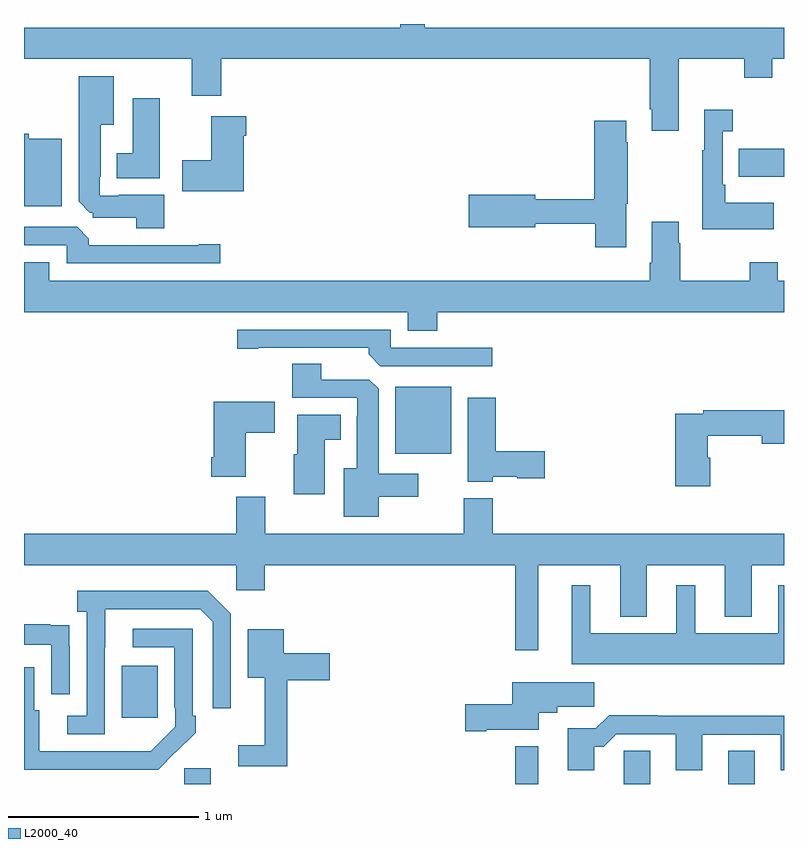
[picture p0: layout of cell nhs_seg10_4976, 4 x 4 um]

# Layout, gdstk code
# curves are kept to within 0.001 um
import gdstk
lib = gdstk.Library(unit=1e-6, precision=1e-09)
def R(c, l, rs):  # rectangles x0, y0, x1, y1
    for r in rs: c.add(gdstk.rectangle(r[:2], r[2:], *l))
def P(c, l, *ps):  # polygons
    for p in ps: c.add(gdstk.Polygon(p, *l))
L2000_40 = (2000, 40)

nhs_seg10_4976 = lib.new_cell('nhs_seg10_4976')
R(nhs_seg10_4976, L2000_40, [(399.843,1296.5,399.982,1296.582), (401.586,1296.5,401.707,1296.7), (402.156,1296.5,402.295,1296.674), (402.707,1296.5,402.847,1296.674), (399.515,1296.849,399.703,1297.123), (400.955,1298.237,401.248,1298.59), (402.763,1299.695,403,1299.843)])
P(nhs_seg10_4976, L2000_40, [(402.445,1300.316),(402.79,1300.316),(402.79,1300.217),(402.937,1300.217),(402.937,1300.316),(403,1300.316),(403,1300.48),(401.11,1300.48),(401.11,1300.5),(400.981,1300.5),(400.981,1300.48),(399,1300.48),(399,1300.316),(399.884,1300.316),(399.884,1300.122),(400.037,1300.122),(400.037,1300.316),(402.293,1300.316),(402.293,1300.051),(402.305,1300.051),(402.305,1299.939),(402.445,1299.939)],
  [(399.739,1299.601),(399.499,1299.601),(399.499,1299.597),(399.399,1299.597),(399.399,1299.697),(399.403,1299.697),(399.403,1299.971),(399.472,1299.971),(399.472,1300.225),(399.287,1300.225),(399.287,1299.567),(399.347,1299.507),(399.363,1299.507),(399.363,1299.48),(399.59,1299.48),(399.59,1299.425),(399.739,1299.425)],
  [(399.715,1300.108),(399.572,1300.108),(399.572,1299.82),(399.488,1299.82),(399.488,1299.689),(399.715,1299.689)],
  [(402.947,1299.559),(402.691,1299.559),(402.691,1299.655),(402.678,1299.655),(402.678,1299.935),(402.73,1299.935),(402.73,1300.048),(402.581,1300.048),(402.581,1299.835),(402.57,1299.835),(402.57,1299.419),(402.947,1299.419)],
  [(400.156,1299.911),(400.169,1299.911),(400.169,1300.015),(399.986,1300.015),(399.986,1299.783),(399.834,1299.783),(399.834,1299.62),(400.156,1299.62)],
  [(402.169,1299.555),(402.177,1299.555),(402.177,1299.878),(402.169,1299.878),(402.169,1299.991),(402.002,1299.991),(402.002,1299.578),(401.692,1299.578),(401.692,1299.602),(401.34,1299.602),(401.34,1299.431),(401.692,1299.431),(401.692,1299.45),(402.007,1299.45),(402.007,1299.324),(402.169,1299.324)],
  [(399.199,1299.895),(399.024,1299.895),(399.024,1299.922),(399,1299.922),(399,1299.542),(399.199,1299.542)],
  [(401.174,1298.984),(403,1298.984),(403,1299.148),(402.966,1299.148),(402.966,1299.247),(402.82,1299.247),(402.82,1299.148),(402.453,1299.148),(402.453,1299.347),(402.445,1299.347),(402.445,1299.46),(402.305,1299.46),(402.305,1299.244),(402.293,1299.244),(402.293,1299.148),(399.133,1299.148),(399.133,1299.247),(399,1299.247),(399,1298.984),(401.021,1298.984),(401.021,1298.885),(401.174,1298.885)],
  [(400.033,1299.341),(399.92,1299.341),(399.92,1299.336),(399.341,1299.336),(399.341,1299.37),(399.279,1299.432),(399,1299.432),(399,1299.336),(399.225,1299.336),(399.225,1299.24),(400.033,1299.24)],
  [(401.464,1298.796),(400.929,1298.796),(400.929,1298.892),(400.122,1298.892),(400.122,1298.791),(400.234,1298.791),(400.234,1298.796),(400.814,1298.796),(400.814,1298.762),(400.875,1298.7),(401.464,1298.7)],
  [(400.867,1298.012),(401.074,1298.012),(401.074,1298.134),(400.867,1298.134),(400.867,1298.579),(400.818,1298.628),(400.564,1298.628),(400.564,1298.711),(400.412,1298.711),(400.412,1298.532),(400.755,1298.532),(400.755,1298.435),(400.751,1298.435),(400.751,1298.161),(400.682,1298.161),(400.682,1297.907),(400.867,1297.907)],
  [(401.466,1298.117),(401.597,1298.117),(401.597,1298.11),(401.74,1298.11),(401.74,1298.252),(401.483,1298.252),(401.483,1298.533),(401.336,1298.533),(401.336,1298.09),(401.466,1298.09)],
  [(400.168,1298.35),(400.321,1298.35),(400.321,1298.512),(399.998,1298.512),(399.998,1298.221),(399.986,1298.221),(399.986,1298.117),(400.168,1298.117)],
  [(402.611,1298.217),(402.598,1298.217),(402.598,1298.332),(402.884,1298.332),(402.884,1298.29),(403,1298.29),(403,1298.468),(402.574,1298.468),(402.574,1298.448),(402.428,1298.448),(402.428,1298.067),(402.611,1298.067)],
  [(400.582,1298.312),(400.666,1298.312),(400.666,1298.443),(400.439,1298.443),(400.439,1298.235),(400.421,1298.235),(400.421,1298.025),(400.582,1298.025)],
  [(401.707,1297.652),(402.137,1297.652),(402.137,1297.379),(402.277,1297.379),(402.277,1297.652),(402.689,1297.652),(402.689,1297.379),(402.829,1297.379),(402.829,1297.652),(403,1297.652),(403,1297.816),(401.468,1297.816),(401.468,1298.005),(401.315,1298.005),(401.315,1297.816),(400.27,1297.816),(400.27,1298.011),(400.118,1298.011),(400.118,1297.816),(399,1297.816),(399,1297.652),(400.116,1297.652),(400.116,1297.521),(400.268,1297.521),(400.268,1297.652),(401.586,1297.652),(401.586,1297.203),(401.707,1297.203)],
  [(403,1297.546),(402.971,1297.546),(402.971,1297.294),(402.532,1297.294),(402.532,1297.546),(402.434,1297.546),(402.434,1297.294),(401.98,1297.294),(401.98,1297.546),(401.882,1297.546),(401.882,1297.13),(403,1297.13)],
  [(399.426,1297.219),(399.427,1297.419),(399.927,1297.419),(399.993,1297.353),(399.993,1296.9),(400.089,1296.9),(400.089,1297.395),(399.968,1297.516),(399.279,1297.516),(399.279,1297.406),(399.33,1297.406),(399.33,1296.858),(399.228,1296.858),(399.228,1296.762),(399.426,1296.762)],
  [(399.24,1297.226),(399.239,1297.226),(399.239,1297.335),(399.137,1297.335),(399.137,1297.342),(399,1297.342),(399,1297.233),(399.144,1297.233),(399.144,1296.972),(399.24,1296.972)],
  [(399.797,1296.667),(399.798,1296.666),(399.903,1296.771),(399.903,1296.859),(399.888,1296.859),(399.888,1297.317),(399.573,1297.317),(399.573,1297.221),(399.792,1297.221),(399.792,1296.901),(399.795,1296.901),(399.795,1296.801),(399.667,1296.673),(399.079,1296.672),(399.079,1296.888),(399.055,1296.888),(399.055,1297.114),(399,1297.114),(399,1296.576),(399.706,1296.576)],
  [(400.385,1297.046),(400.609,1297.046),(400.609,1297.188),(400.366,1297.188),(400.366,1297.315),(400.178,1297.315),(400.178,1297.058),(400.268,1297.058),(400.268,1296.703),(400.128,1296.703),(400.128,1296.594),(400.385,1296.594)],
  [(401.434,1296.785),(401.71,1296.785),(401.71,1296.875),(401.806,1296.875),(401.806,1296.907),(402.001,1296.907),(402.001,1297.036),(401.57,1297.036),(401.57,1296.92),(401.322,1296.92),(401.322,1296.778),(401.434,1296.778)],
  [(402.001,1296.695),(402.05,1296.695),(402.117,1296.762),(402.431,1296.762),(402.431,1296.573),(402.571,1296.573),(402.571,1296.759),(402.983,1296.759),(402.983,1296.573),(403,1296.573),(403,1296.86),(402.335,1296.86),(402.335,1296.863),(402.08,1296.863),(402.01,1296.793),(401.861,1296.793),(401.861,1296.573),(402.001,1296.573)])

lib.write_gds('nhs_seg10_4976.gds')
